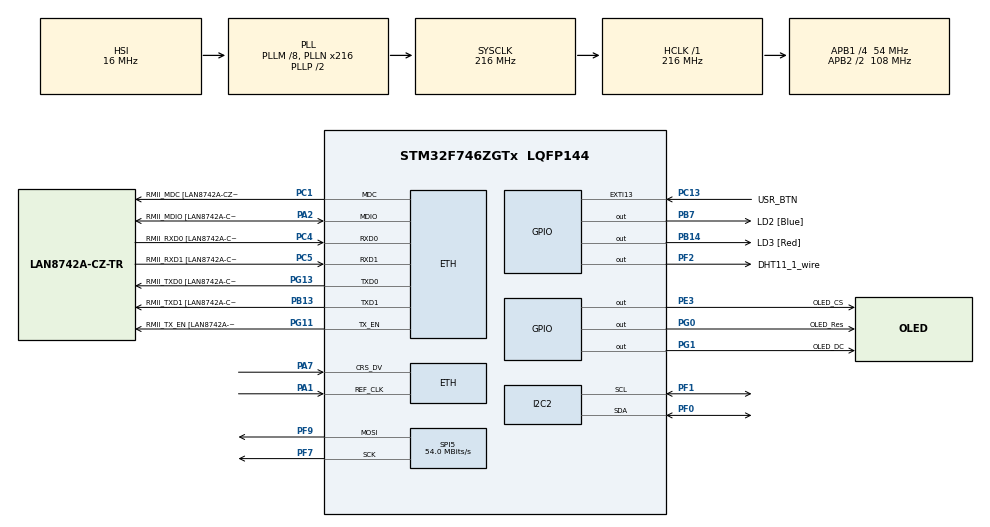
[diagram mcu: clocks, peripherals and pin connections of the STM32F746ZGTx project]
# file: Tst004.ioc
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CORTEX_M7.AccessPermission-Cortex_Memory_Protection_Unit_Region0_Settings=MPU_REGION_FULL_ACCESS
CORTEX_M7.BaseAddress-Cortex_Memory_Protection_Unit_Region0_Settings=0x30040000
CORTEX_M7.BaseAddress-Cortex_Memory_Protection_Unit_Region1_Settings=0x3004400
CORTEX_M7.CPU_DCache=Enabled
CORTEX_M7.CPU_ICache=Enabled
CORTEX_M7.Enable-Cortex_Memory_Protection_Unit_Region0_Settings=MPU_REGION_ENABLE
CORTEX_M7.Enable-Cortex_Memory_Protection_Unit_Region1_Settings=MPU_REGION_ENABLE
CORTEX_M7.IsBufferable-Cortex_Memory_Protection_Unit_Region0_Settings=MPU_ACCESS_BUFFERABLE
CORTEX_M7.MPU_Control=MPU_PRIVILEGED_DEFAULT
CORTEX_M7.Size-Cortex_Memory_Protection_Unit_Region0_Settings=MPU_REGION_SIZE_256B
CORTEX_M7.Size-Cortex_Memory_Protection_Unit_Region1_Settings=MPU_REGION_SIZE_16KB
CORTEX_M7.TypeExtField-Cortex_Memory_Protection_Unit_Region1_Settings=MPU_TEX_LEVEL1
ETH.MACAddr=00\:80\:E1\:0D\:0A\:0D
ETH.MediaInterface=ETH_MEDIA_INTERFACE_RMII
ETH.PhyAddress=0
I2C2.Timing=0x20404768
LWIP.CHECKSUM_CHECK_ICMP=0
LWIP.CHECKSUM_GEN_ICMP=0
LWIP.GATEWAY_ADDRESS=000.000.000.000
LWIP.IP_ADDRESS=000.000.000.000
LWIP.LWIP_DBG_MIN_LEVEL=LWIP_DBG_LEVEL_SERIOUS
LWIP.LWIP_DHCP=0
LWIP.LWIP_DNS=0
LWIP.LWIP_NETIF_LOOPBACK=0
LWIP.MEMP_NUM_TCP_PCB=10
LWIP.MEMP_NUM_UDP_PCB=10
LWIP.NETMASK_ADDRESS=000.000.000.000
LWIP.Version=v2.1.2_Cube
Mcu.Family=STM32F7
Mcu.Name=STM32F746ZGTx
Mcu.Package=LQFP144
Mcu.UserConstants=MY_PERIOD,24000;MY_VERSION,202206110440;MY_PRESCALER,53999
NVIC.ETH_IRQn=true\:2\:0\:true\:true\:true\:2\:true\:true\:true
NVIC.EXTI15_10_IRQn=true\:4\:0\:true\:true\:true\:1\:true\:true\:true
NVIC.PriorityGroup=NVIC_PRIORITYGROUP_4
NVIC.TIM6_DAC_IRQn=true\:3\:0\:true\:true\:true\:3\:true\:true\:true
PA1.Mode=RMII
PA1.Signal=ETH_REF_CLK
PA13.GPIO_Label=TMS
PA13.Signal=SYS_JTMS-SWDIO
PA14.GPIO_Label=TCK
PA14.Signal=SYS_JTCK-SWCLK
PA2.GPIO_Label=RMII_MDIO [LAN8742A-CZ-TR_MDIO]
PA2.Mode=RMII
PA2.Signal=ETH_MDIO
PA7.Mode=RMII
PA7.Signal=ETH_CRS_DV
PB0.Signal=ETH_RXD2
PB13.GPIO_Label=RMII_TXD1 [LAN8742A-CZ-TR_TXD1]
PB13.Mode=RMII
PB13.Signal=ETH_TXD1
PB14.GPIO_Label=LD3 [Red]
PB14.Signal=GPIO_Output
PB3.GPIO_Label=SW0
PB3.Signal=SYS_JTDO-SWO
PB7.GPIO_Label=LD2 [Blue]
PB7.Signal=GPIO_Output
PC1.GPIO_Label=RMII_MDC [LAN8742A-CZ-TR_MDC]
PC1.Mode=RMII
PC1.Signal=ETH_MDC
PC12.Signal=SPI3_MOSI
PC13.GPIO_Label=USR_BTN
PC13.GPIO_ModeDefaultEXTI=GPIO_MODE_IT_RISING_FALLING
PC13.GPIO_PuPd=GPIO_NOPULL
PC13.Signal=GPXTI13
PC14/OSC32_IN.Signal=RCC_OSC32_IN
PC15/OSC32_OUT.Signal=RCC_OSC32_OUT
PC4.GPIO_Label=RMII_RXD0 [LAN8742A-CZ-TR_RXD0]
PC4.Mode=RMII
PC4.Signal=ETH_RXD0
PC5.GPIO_Label=RMII_RXD1 [LAN8742A-CZ-TR_RXD1]
PC5.Mode=RMII
PC5.Signal=ETH_RXD1
PD8.GPIO_Label=STLK_RX [STM32F103CBT6_PA3]
PD8.Signal=USART3_TX
PD9.GPIO_Label=STLK_TX [STM32F103CBT6_PA2]
PD9.Signal=USART3_RX
PE3.GPIO_Label=OLED_CS
PE3.Signal=GPIO_Output
PF0.Mode=I2C
PF0.Signal=I2C2_SDA
PF1.Mode=I2C
PF1.Signal=I2C2_SCL
PF2.GPIO_Label=DHT11_1_wire
PF2.GPIO_ModeDefaultOutputPP=GPIO_MODE_OUTPUT_OD
PF2.GPIO_PuPd=GPIO_PULLUP
PF2.GPIO_Speed=GPIO_SPEED_FREQ_HIGH
PF2.PinState=GPIO_PIN_RESET
PF2.Signal=GPIO_Output
PF7.Mode=TX_Only_Simplex_Unidirect_Master
PF7.Signal=SPI5_SCK
PF9.Mode=TX_Only_Simplex_Unidirect_Master
PF9.Signal=SPI5_MOSI
PG0.GPIO_Label=OLED_Res
PG0.Signal=GPIO_Output
PG1.GPIO_Label=OLED_DC
PG1.Signal=GPIO_Output
PG11.GPIO_Label=RMII_TX_EN [LAN8742A-CZ-TR_TXEN]
PG11.Mode=RMII
PG11.Signal=ETH_TX_EN
PG13.GPIO_Label=RMII_TXD0 [LAN8742A-CZ-TR_TXD0]
PG13.Mode=RMII
PG13.Signal=ETH_TXD0
PH0/OSC_IN.GPIO_Label=MCO [STM32F103CBT6_PA8]
PH0/OSC_IN.Signal=RCC_OSC_IN
PH1/OSC_OUT.Signal=RCC_OSC_OUT
ProjectManager.HeapSize=0x2000
ProjectManager.StackSize=0x4000
ProjectManager.TargetToolchain=STM32CubeIDE
RCC.48MHZClocksFreq_Value=24000000
RCC.AHBFreq_Value=216000000
RCC.APB1CLKDivider=RCC_HCLK_DIV4
RCC.APB1Freq_Value=54000000
RCC.APB1TimFreq_Value=108000000
RCC.APB2CLKDivider=RCC_HCLK_DIV2
RCC.APB2Freq_Value=108000000
RCC.APB2TimFreq_Value=216000000
RCC.CortexFreq_Value=216000000
RCC.HCLKFreq_Value=216000000
RCC.HSE_VALUE=16000000
RCC.HSI_VALUE=16000000
RCC.LSE_VALUE=32768
RCC.PLLM=8
RCC.PLLMUL=RCC_PLL_MUL9
RCC.PLLN=216
RCC.PRESCALERUSB=RCC_USBCLKSOURCE_PLL_DIV1_5
RCC.SYSCLKFreq_VALUE=216000000
RCC.SYSCLKSource=RCC_SYSCLKSOURCE_PLLCLK
RCC.SYSCLKSourceVirtual=RCC_SYSCLKSOURCE_PLLCLK
RCC.USBFreq_Value=216000000
RCC.VCOOutputFreq_Value=432000000
SPI5.CalculateBaudRate=54.0 MBits/s
SPI5.DataSize=SPI_DATASIZE_8BIT
SPI5.Direction=SPI_DIRECTION_2LINES
SPI5.Mode=SPI_MODE_MASTER
SPI5.VirtualType=VM_MASTER
TIM6.AutoReloadPreload=TIM_AUTORELOAD_PRELOAD_DISABLE
TIM6.Period=MY_PERIOD
TIM6.Prescaler=MY_PRESCALER
VP_LWIP_VS_Enabled.Mode=Enabled
VP_TIM6_VS_ClockSourceINT.Mode=Enable_Timer
board=NUCLEO-F746ZI

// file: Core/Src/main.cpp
/* USER CODE BEGIN Header */
/**
 ******************************************************************************
 * @file           : main.cpp
 * @brief          : Main program body
 ******************************************************************************
 * @attention
 *
 * Copyright (c) 2022 STMicroelectronics.
 * All rights reserved.
 *
 * This software is licensed under terms that can be found in the LICENSE file
 * in the root directory of this software component.
 * If no LICENSE file comes with this software, it is provided AS-IS.
 *
 ******************************************************************************
 */
/* USER CODE END Header */
#include "main.h"
#include "i2c.h"
#include "lwip.h"
#include "spi.h"
#include "tim.h"
#include "gpio.h"

/* USER CODE BEGIN Includes */
#include <string>
#include <MySensor.h>
#include <MyButton.h>
#include <MyBlinker.h>
#include <MyOled.h>
#include <MyChart.h>
#include <MyMqtt.h>
//#include "dht.h"

//mqtt
#include <mqtt.h>

/* USER CODE END Includes */

/* USER CODE BEGIN PTD */

//mqtt
ip_addr_t ip_addr;
mqtt_client_t *client;

extern struct netif gnetif;

/* USER CODE END PTD */

/* USER CODE BEGIN PV */

const char mqtt_server[15] = MY_MQTT_SERVER_IP_ADDRES;
extern uint8_t IP_ADDRESS[4];
extern uint8_t NETMASK_ADDRESS[4];
extern uint8_t GATEWAY_ADDRESS[4];

static bool ready_flag = false;
static bool mesurement_flag = false;

/* USER CODE END PV */

void SystemClock_Config(void);
static void MPU_Config(void);
static void MX_NVIC_Init(void);

/* USER CODE BEGIN 0 */

MyBlinker mb_blue = MyBlinker(LD2_Pin);
MyBlinker mb_red = MyBlinker(LD3_Pin);

MyOled my_oled = MyOled();
MyButton my_btn = MyButton(USR_BTN_GPIO_Port, USR_BTN_Pin);

MySensor ms;
//DHT_sensor dht_22;

/* USER CODE END 0 */

int main(void) {

  /* MCU Configuration--------------------------------------------------------*/
  MPU_Config();

  /* Enable I-Cache---------------------------------------------------------*/
  SCB_EnableICache();

  /* Enable D-Cache---------------------------------------------------------*/
  SCB_EnableDCache();

  /* MCU Configuration--------------------------------------------------------*/

  /* Reset of all peripherals, Initializes the Flash interface and the Systick. */
  HAL_Init();

  /* Configure the system clock */
  SystemClock_Config();

  /* Initialize all configured peripherals */
  MX_GPIO_Init();
  MX_TIM6_Init();
  MX_I2C2_Init();
  MX_SPI5_Init();
  MX_LWIP_Init();

  /* Initialize interrupts */
  MX_NVIC_Init();
  /* USER CODE BEGIN 2 */

  // bmp280/bme280 and dht11/dht22
  ms = MySensor();
  ms.set_bmp(&hi2c2);
  //dht_22 = { DHT11_1_wire_GPIO_Port, DHT11_1_wire_Pin, DHT22, 0 };
  //ms.set_dht(&dht_22);

  // 0.96" OLED display init and test
  my_oled.init();
  my_oled.hello();

  // mqtt
  client = mqtt_client_new();
  ipaddr_aton(mqtt_server, &ip_addr);

  if (client != NULL) {
	  my_do_connect(client);
  }

  ready_flag = true;

  HAL_TIM_Base_Start_IT(&htim6);

  //
  //  Try to fix ETHERNET - OK!
  //
  //  as
  //    https://www.programmersought.com/article/78154544894/
  //
  //  also I want to read this "Михаил: Включите D-кэш!
  //  Без него LWIP не хочет работать. За одно и I-кэш тоже..."
  //    https://narodstream.ru/stm-urok-96-lan8720-lwip-tcp-client-chast-2/
  //
  //  and this
  //    https://github.com/AnielShri/STM32H745_Ethernet/blob/master/Documentation/lwip_nortos.md
  //

  /* USER CODE END 2 */

  /* Infinite loop */
  while (1) {

    MX_LWIP_Process();

    if (mesurement_flag) {
      mesurement_flag = false;

      mb_red.on();
      mb_blue.toggle();

      ms.get_data();
      my_oled.set_tph(ms.getT(), ms.getP(), ms.getH());
      my_oled.display();

      my_publish(client, NULL, ms.getT(), ms.getP(), ms.getH());
      my_do_connect(client);

      mb_red.off();
    }

  }
}

void SystemClock_Config(void) {
  RCC_OscInitTypeDef RCC_OscInitStruct = { 0 };
  RCC_ClkInitTypeDef RCC_ClkInitStruct = { 0 };

  /** Configure the main internal regulator output voltage
   */
  __HAL_RCC_PWR_CLK_ENABLE();
  __HAL_PWR_VOLTAGESCALING_CONFIG(PWR_REGULATOR_VOLTAGE_SCALE1);
  /** Initializes the RCC Oscillators according to the specified parameters
   * in the RCC_OscInitTypeDef structure.
   */
  RCC_OscInitStruct.OscillatorType = RCC_OSCILLATORTYPE_HSI;
  RCC_OscInitStruct.HSIState = RCC_HSI_ON;
  RCC_OscInitStruct.HSICalibrationValue = RCC_HSICALIBRATION_DEFAULT;
  RCC_OscInitStruct.PLL.PLLState = RCC_PLL_ON;
  RCC_OscInitStruct.PLL.PLLSource = RCC_PLLSOURCE_HSI;
  RCC_OscInitStruct.PLL.PLLM = 8;
  RCC_OscInitStruct.PLL.PLLN = 216;
  RCC_OscInitStruct.PLL.PLLP = RCC_PLLP_DIV2;
  RCC_OscInitStruct.PLL.PLLQ = 2;
  //RCC_OscInitStruct.PLL.PLLR = 2;
  if (HAL_RCC_OscConfig(&RCC_OscInitStruct) != HAL_OK) {
    Error_Handler();
  }
  /** Activate the Over-Drive mode
   */
  if (HAL_PWREx_EnableOverDrive() != HAL_OK) {
    Error_Handler();
  }
  /** Initializes the CPU, AHB and APB buses clocks
   */
  RCC_ClkInitStruct.ClockType = RCC_CLOCKTYPE_HCLK | RCC_CLOCKTYPE_SYSCLK
      | RCC_CLOCKTYPE_PCLK1 | RCC_CLOCKTYPE_PCLK2;
  RCC_ClkInitStruct.SYSCLKSource = RCC_SYSCLKSOURCE_PLLCLK;
  RCC_ClkInitStruct.AHBCLKDivider = RCC_SYSCLK_DIV1;
  RCC_ClkInitStruct.APB1CLKDivider = RCC_HCLK_DIV4;
  RCC_ClkInitStruct.APB2CLKDivider = RCC_HCLK_DIV2;

  if (HAL_RCC_ClockConfig(&RCC_ClkInitStruct, FLASH_LATENCY_7) != HAL_OK) {
    Error_Handler();
  }
}

/**
 * @brief NVIC Configuration.
 * @retval None
 */
static void MX_NVIC_Init(void) {
  /* EXTI15_10_IRQn interrupt configuration */
  HAL_NVIC_SetPriority(EXTI15_10_IRQn, 4, 0);
  HAL_NVIC_EnableIRQ(EXTI15_10_IRQn);
  /* ETH_IRQn interrupt configuration */
  HAL_NVIC_SetPriority(ETH_IRQn, 2, 0);
  HAL_NVIC_EnableIRQ(ETH_IRQn);
  /* TIM6_DAC_IRQn interrupt configuration */
  HAL_NVIC_SetPriority(TIM6_DAC_IRQn, 3, 0);
  HAL_NVIC_EnableIRQ(TIM6_DAC_IRQn);
}

/* USER CODE BEGIN 4 */

void HAL_GPIO_EXTI_Callback(uint16_t GPIO_Pin) {

  if (ready_flag && my_btn.catch_click()) {
    if (my_btn.is_Short()) {
      my_oled.next_display();
    } else if (my_btn.is_Middle()) {
      my_oled.prev_display();
    } else if (my_btn.is_Long()) {
      if (my_oled.get_display() == 3) {
        my_oled.oled_testing();
      }
    }

  }
}

void HAL_TIM_PeriodElapsedCallback(TIM_HandleTypeDef *htim) {
  if (htim->Instance == TIM6) //check if the interrupt comes from TIM1
  {
    mesurement_flag = true;
  }
}

/* USER CODE END 4 */

/* MPU Configuration */

void MPU_Config(void) {
  MPU_Region_InitTypeDef MPU_InitStruct = { 0 };

  /* Disables the MPU */
  HAL_MPU_Disable();

  /** Initializes and configures the Region and the memory to be protected
   */
  MPU_InitStruct.Enable = MPU_REGION_ENABLE;
  MPU_InitStruct.Number = MPU_REGION_NUMBER0;
  MPU_InitStruct.BaseAddress = 0x30040000;
  MPU_InitStruct.Size = MPU_REGION_SIZE_256B;
  MPU_InitStruct.SubRegionDisable = 0x0;
  MPU_InitStruct.TypeExtField = MPU_TEX_LEVEL0;
  MPU_InitStruct.AccessPermission = MPU_REGION_FULL_ACCESS;
  MPU_InitStruct.DisableExec = MPU_INSTRUCTION_ACCESS_ENABLE;
  MPU_InitStruct.IsShareable = MPU_ACCESS_NOT_SHAREABLE;
  MPU_InitStruct.IsCacheable = MPU_ACCESS_NOT_CACHEABLE;
  MPU_InitStruct.IsBufferable = MPU_ACCESS_BUFFERABLE;

  HAL_MPU_ConfigRegion(&MPU_InitStruct);

  /** Initializes and configures the Region and the memory to be protected
   */
  MPU_InitStruct.Number = MPU_REGION_NUMBER1;
  MPU_InitStruct.BaseAddress = 0x3004400;
  MPU_InitStruct.Size = MPU_REGION_SIZE_16KB;
  MPU_InitStruct.TypeExtField = MPU_TEX_LEVEL1;
  MPU_InitStruct.IsBufferable = MPU_ACCESS_NOT_BUFFERABLE;

  HAL_MPU_ConfigRegion(&MPU_InitStruct);
  /* Enables the MPU */
  HAL_MPU_Enable(MPU_PRIVILEGED_DEFAULT);

}

void Error_Handler(void) {
  /* USER CODE BEGIN Error_Handler_Debug */
  /* User can add his own implementation to report the HAL error return state */
  __disable_irq();
  while (1) {
    for (int i = 0; i < 2700000; i += 2) {
      i--;
    }

    mb_red.toggle();

  }
  /* USER CODE END Error_Handler_Debug */
}
